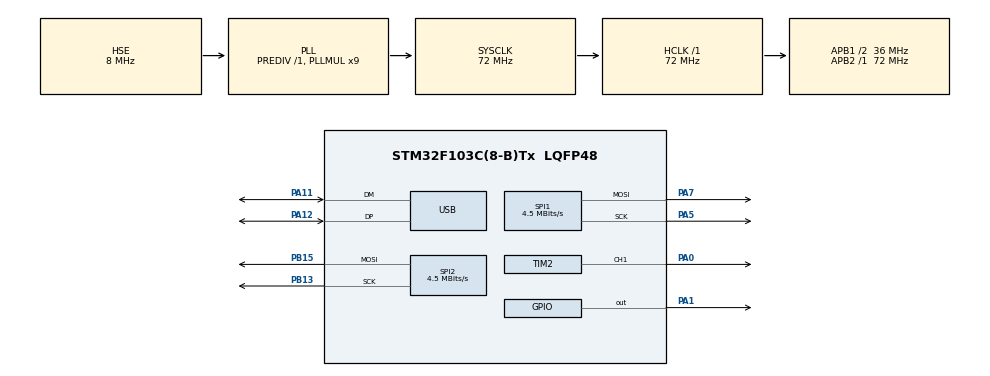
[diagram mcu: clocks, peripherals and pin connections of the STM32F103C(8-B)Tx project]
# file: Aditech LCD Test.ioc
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Dma.Request0=SPI1_TX
Dma.Request1=SPI2_TX
Dma.SPI1_TX.0.Direction=DMA_MEMORY_TO_PERIPH
Dma.SPI1_TX.0.Instance=DMA1_Channel3
Dma.SPI1_TX.0.MemDataAlignment=DMA_MDATAALIGN_BYTE
Dma.SPI1_TX.0.MemInc=DMA_MINC_ENABLE
Dma.SPI1_TX.0.Mode=DMA_NORMAL
Dma.SPI1_TX.0.PeriphDataAlignment=DMA_PDATAALIGN_BYTE
Dma.SPI1_TX.0.PeriphInc=DMA_PINC_DISABLE
Dma.SPI1_TX.0.Priority=DMA_PRIORITY_VERY_HIGH
Dma.SPI2_TX.1.Direction=DMA_MEMORY_TO_PERIPH
Dma.SPI2_TX.1.Instance=DMA1_Channel5
Dma.SPI2_TX.1.MemDataAlignment=DMA_MDATAALIGN_BYTE
Dma.SPI2_TX.1.MemInc=DMA_MINC_ENABLE
Dma.SPI2_TX.1.Mode=DMA_NORMAL
Dma.SPI2_TX.1.PeriphDataAlignment=DMA_PDATAALIGN_BYTE
Dma.SPI2_TX.1.PeriphInc=DMA_PINC_DISABLE
Dma.SPI2_TX.1.Priority=DMA_PRIORITY_VERY_HIGH
Mcu.Family=STM32F1
Mcu.Name=STM32F103C(8-B)Tx
Mcu.Package=LQFP48
NVIC.DMA1_Channel3_IRQn=true\:1\:0\:true\:false\:true\:false\:true
NVIC.DMA1_Channel5_IRQn=true\:1\:0\:true\:false\:true\:false\:true
NVIC.PriorityGroup=NVIC_PRIORITYGROUP_4
NVIC.SPI1_IRQn=true\:2\:0\:true\:false\:true\:true\:true
NVIC.SPI2_IRQn=true\:2\:0\:true\:false\:true\:true\:true
NVIC.USB_LP_CAN1_RX0_IRQn=true\:0\:0\:false\:false\:true\:false\:true
PA0-WKUP.Signal=S_TIM2_CH1_ETR
PA1.Signal=GPIO_Output
PA11.Mode=Device
PA11.Signal=USB_DM
PA12.Mode=Device
PA12.Signal=USB_DP
PA13.Mode=Serial_Wire
PA13.Signal=SYS_JTMS-SWDIO
PA14.Mode=Serial_Wire
PA14.Signal=SYS_JTCK-SWCLK
PA5.Mode=TX_Only_Simplex_Unidirect_Master
PA5.Signal=SPI1_SCK
PA7.Mode=TX_Only_Simplex_Unidirect_Master
PA7.Signal=SPI1_MOSI
PB13.Mode=TX_Only_Simplex_Unidirect_Master
PB13.Signal=SPI2_SCK
PB15.Mode=TX_Only_Simplex_Unidirect_Master
PB15.Signal=SPI2_MOSI
PD0-OSC_IN.Mode=HSE-External-Oscillator
PD0-OSC_IN.Signal=RCC_OSC_IN
PD1-OSC_OUT.Mode=HSE-External-Oscillator
PD1-OSC_OUT.Signal=RCC_OSC_OUT
ProjectManager.HeapSize=0x200
ProjectManager.StackSize=0x400
ProjectManager.TargetToolchain=Makefile
RCC.AHBFreq_Value=72000000
RCC.APB1CLKDivider=RCC_HCLK_DIV2
RCC.APB1Freq_Value=36000000
RCC.APB1TimFreq_Value=72000000
RCC.APB2Freq_Value=72000000
RCC.APB2TimFreq_Value=72000000
RCC.HCLKFreq_Value=72000000
RCC.PLLMUL=RCC_PLL_MUL9
RCC.PLLSourceVirtual=RCC_PLLSOURCE_HSE
RCC.SYSCLKFreq_VALUE=72000000
RCC.SYSCLKSource=RCC_SYSCLKSOURCE_PLLCLK
RCC.USBFreq_Value=48000000
RCC.USBPrescaler=RCC_USBCLKSOURCE_PLL_DIV1_5
SH.S_TIM2_CH1_ETR.0=TIM2_CH1,PWM Generation1 CH1
SPI1.BaudRatePrescaler=SPI_BAUDRATEPRESCALER_16
SPI1.CLKPhase=SPI_PHASE_2EDGE
SPI1.CRCCalculation=SPI_CRCCALCULATION_DISABLE
SPI1.CalculateBaudRate=4.5 MBits/s
SPI1.Direction=SPI_DIRECTION_2LINES
SPI1.Mode=SPI_MODE_MASTER
SPI1.VirtualType=VM_MASTER
SPI2.BaudRatePrescaler=SPI_BAUDRATEPRESCALER_8
SPI2.CLKPhase=SPI_PHASE_2EDGE
SPI2.CalculateBaudRate=4.5 MBits/s
SPI2.Direction=SPI_DIRECTION_2LINES
SPI2.Mode=SPI_MODE_MASTER
SPI2.VirtualType=VM_MASTER
TIM2.Channel-PWM\ Generation1\ CH1=TIM_CHANNEL_1
TIM2.ClockDivision=TIM_CLOCKDIVISION_DIV1
TIM2.Period=36000
TIM2.Prescaler=3
TIM2.Pulse-PWM\ Generation1\ CH1=18000
TIM3.Period=65535
TIM3.Prescaler=71
USB_DEVICE.CLASS_NAME_FS=CDC
USB_DEVICE.VirtualMode=Cdc
USB_DEVICE.VirtualModeFS=Cdc_FS
VP_TIM2_VS_ClockSourceINT.Mode=Internal
VP_TIM3_VS_ClockSourceINT.Mode=Internal
VP_USB_DEVICE_VS_USB_DEVICE_CDC_FS.Mode=CDC_FS
board=custom

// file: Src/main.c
/* USER CODE BEGIN Header */
/**
 ******************************************************************************
 * @file           : main.c
 * @brief          : Main program body
 ******************************************************************************
 * @attention
 *
 * <h2><center>&copy; Copyright (c) 2020 STMicroelectronics.
 * All rights reserved.</center></h2>
 *
 * This software component is licensed by ST under Ultimate Liberty license
 * SLA0044, the "License"; You may not use this file except in compliance with
 * the License. You may obtain a copy of the License at:
 *                             www.st.com/SLA0044
 *
 ******************************************************************************
 */
/* USER CODE END Header */

#include "main.h"
#include "dma.h"
#include "gpio.h"
#include "spi.h"
#include "tim.h"
#include "usb_device.h"

/* USER CODE BEGIN Includes */
#include "aditech.h"
#include "communication.h"
#include "globals.h"
#include "usbd_cdc_if.h"
/* USER CODE END Includes */

/* USER CODE BEGIN PV */
uint8_t lcdData[LCD_BUF_SIZE];
uint8_t currentRAM = RAM1;
/* USER CODE END PV */

void SystemClock_Config(void);

/* USER CODE BEGIN 0 */
void GPIO_USB_DP_Init(void) {
    GPIO_InitTypeDef GPIO_InitStruct = {0};

    /* GPIO Ports Clock Enable */
    __HAL_RCC_GPIOD_CLK_ENABLE();
    __HAL_RCC_GPIOA_CLK_ENABLE();

    /*Configure GPIO pin Output Level */
    HAL_GPIO_WritePin(GPIOA, GPIO_PIN_12, GPIO_PIN_RESET);

    /*Configure GPIO pin : PA1 */
    GPIO_InitStruct.Pin = GPIO_PIN_12;
    GPIO_InitStruct.Mode = GPIO_MODE_OUTPUT_PP;
    GPIO_InitStruct.Pull = GPIO_NOPULL;
    GPIO_InitStruct.Speed = GPIO_SPEED_FREQ_LOW;
    HAL_GPIO_Init(GPIOA, &GPIO_InitStruct);
}
/* USER CODE END 0 */

int main(void) {

    /* MCU Configuration--------------------------------------------------------*/

    /* Reset of all peripherals, Initializes the Flash interface and the Systick. */
    HAL_Init();

    /* Configure the system clock */
    SystemClock_Config();

    /* USER CODE BEGIN SysInit */
    // Force USB re-enumerate
    GPIO_USB_DP_Init();
    HAL_Delay(10);
    /* USER CODE END SysInit */

    /* Initialize all configured peripherals */
    MX_GPIO_Init();
    MX_DMA_Init();
    MX_SPI1_Init();
    MX_TIM2_Init();
    MX_USB_DEVICE_Init();
    MX_TIM3_Init();
    MX_SPI2_Init();
    /* USER CODE BEGIN 2 */
    HAL_TIM_Base_Start(&DELAY_US_TIMER);
    HAL_TIM_Base_Start(&LCD_FRAME_TIMER);
    HAL_TIM_PWM_Start(&LCD_FRAME_TIMER, LCD_FRAME_TIMER_CHANNEL);
    memset(lcdData, 0x37, LCD_BUF_SIZE);
    /* USER CODE END 2 */

    /* Infinite loop */
    while (1) {

        /* USER CODE BEGIN 3 */
        if (!isTransmitActive()) {
            //convertBitmap(lcdData, bitmapBuffer, NUM_HALF_PANELS, currentRAM);
            transmitBitmap(lcdData, NUM_HALF_PANELS);
            if (currentRAM == RAM1) {
                currentRAM = RAM2;
            } else {
                currentRAM = RAM1;
            }
        }
        HAL_Delay(1000);
    }
    /* USER CODE END 3 */
}

void SystemClock_Config(void) {
    RCC_OscInitTypeDef RCC_OscInitStruct = {0};
    RCC_ClkInitTypeDef RCC_ClkInitStruct = {0};
    RCC_PeriphCLKInitTypeDef PeriphClkInit = {0};

    /** Initializes the CPU, AHB and APB busses clocks
     */
    RCC_OscInitStruct.OscillatorType = RCC_OSCILLATORTYPE_HSE;
    RCC_OscInitStruct.HSEState = RCC_HSE_ON;
    RCC_OscInitStruct.HSEPredivValue = RCC_HSE_PREDIV_DIV1;
    RCC_OscInitStruct.HSIState = RCC_HSI_ON;
    RCC_OscInitStruct.PLL.PLLState = RCC_PLL_ON;
    RCC_OscInitStruct.PLL.PLLSource = RCC_PLLSOURCE_HSE;
    RCC_OscInitStruct.PLL.PLLMUL = RCC_PLL_MUL9;
    if (HAL_RCC_OscConfig(&RCC_OscInitStruct) != HAL_OK) {
        Error_Handler();
    }
    /** Initializes the CPU, AHB and APB busses clocks
     */
    RCC_ClkInitStruct.ClockType = RCC_CLOCKTYPE_HCLK | RCC_CLOCKTYPE_SYSCLK | RCC_CLOCKTYPE_PCLK1 | RCC_CLOCKTYPE_PCLK2;
    RCC_ClkInitStruct.SYSCLKSource = RCC_SYSCLKSOURCE_PLLCLK;
    RCC_ClkInitStruct.AHBCLKDivider = RCC_SYSCLK_DIV1;
    RCC_ClkInitStruct.APB1CLKDivider = RCC_HCLK_DIV2;
    RCC_ClkInitStruct.APB2CLKDivider = RCC_HCLK_DIV1;

    if (HAL_RCC_ClockConfig(&RCC_ClkInitStruct, FLASH_LATENCY_2) != HAL_OK) {
        Error_Handler();
    }
    PeriphClkInit.PeriphClockSelection = RCC_PERIPHCLK_USB;
    PeriphClkInit.UsbClockSelection = RCC_USBCLKSOURCE_PLL_DIV1_5;
    if (HAL_RCCEx_PeriphCLKConfig(&PeriphClkInit) != HAL_OK) {
        Error_Handler();
    }
}

void Error_Handler(void) {
}

/************************ (C) COPYRIGHT STMicroelectronics *****END OF FILE****/
